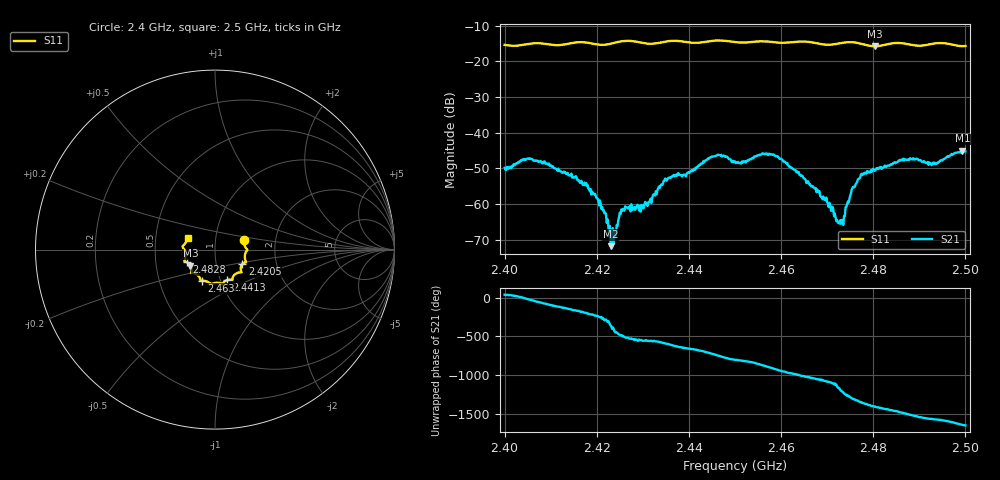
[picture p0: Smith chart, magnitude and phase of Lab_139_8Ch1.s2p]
# Hz S RI R 50
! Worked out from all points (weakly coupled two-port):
!   601 points, 2.4 GHz to 2.5 GHz, reference 50 ohm
!   highest |S21| = -45.03 dB at 2.4993 GHz (marker M1); lowest = -71.9 dB at 2.423 GHz (marker M2)
!   lowest |S11| = -15.7 dB at 2.4803 GHz (marker M3), VSWR 1.39, Z = 37.4 - j6.85 ohm
!   |S11| at or under -10 dB: start of sweep to end of sweep
!   S12 and S22 are empty: the file has one direction only
!   S11 on the Smith chart (normalised r, x): 2.4 GHz: 1.38, +0.15; 2.4205 GHz: 1.34, -0.22; 2.4413 GHz: 1.08, -0.38; 2.463 GHz: 0.82, -0.29; 2.4828 GHz: 0.72, -0.10; 2.5 GHz: 0.73, +0.10
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2.4e9  0.1628 0.0523  0.00257 0.0019  0 0  0 0
2.4055e9  0.1778 0.00251  0.00374 -0.00205  0 0  0 0
2.416667e9  0.1733 -0.0697  -0.00211 7.02e-05  0 0  0 0
2.4205e9  0.1521 -0.0809  -0.000351 0.000891  0 0  0 0
2.423e9  0.1431 -0.1049  0.000255 -2.21e-06  0 0  0 0
2.4235e9  0.1433 -0.11  0.000416 -0.000193  0 0  0 0
2.425833e9  0.1479 -0.1252  -0.000623 -0.000533  0 0  0 0
2.429667e9  0.1319 -0.1278  -0.000964 8.57e-05  0 0  0 0
2.433333e9  0.1004 -0.1515  -0.00146 0.000776  0 0  0 0
2.441333e9  0.0675 -0.1696  0.00189 0.00234  0 0  0 0
2.446167e9  0.0417 -0.1929  0.00444 -0.002  0 0  0 0
2.45e9  0.0247 -0.1856  0.000604 -0.00391  0 0  0 0
2.457833e9  -0.0297 -0.1864  -0.00499 0.000299  0 0  0 0
2.463e9  -0.0721 -0.1736  -0.000166 0.00298  0 0  0 0
2.466667e9  -0.0816 -0.1673  0.00121 0.0013  0 0  0 0
2.473e9  -0.126 -0.1301  -0.000271 -0.000452  0 0  0 0
2.477e9  -0.1312 -0.123  -0.000365 0.00225  0 0  0 0
2.480333e9  -0.1371 -0.0891  0.00231 0.00177  0 0  0 0
2.482833e9  -0.1586 -0.0701  0.00332 0.000161  0 0  0 0
2.483333e9  -0.1624 -0.0684  0.00348 -5.95e-05  0 0  0 0
2.499333e9  -0.155 0.0542  -0.00538 0.00157  0 0  0 0
2.5e9  -0.1522 0.0639  -0.00495 0.00234  0 0  0 0
